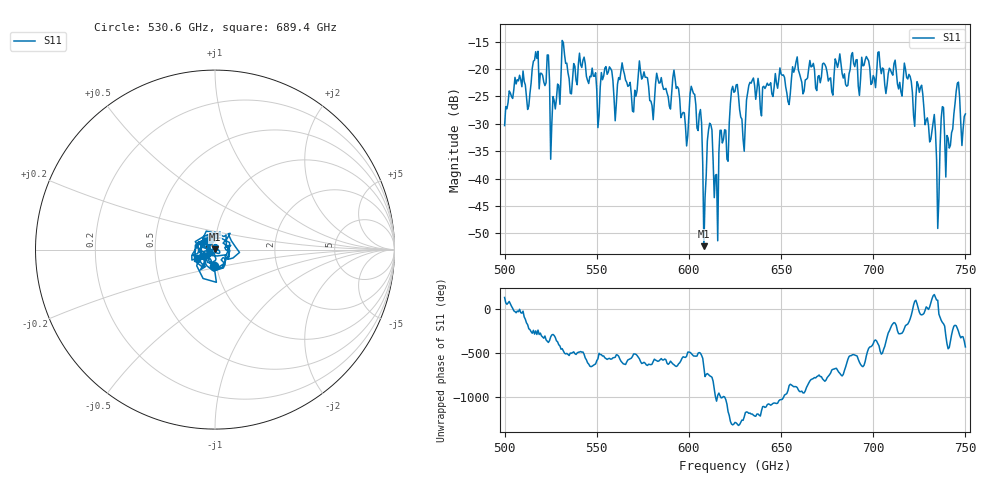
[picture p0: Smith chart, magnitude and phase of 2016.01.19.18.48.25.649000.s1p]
!Created with skrf (http://scikit-rf.org).
# GHz S RI R 50.0
!freq ReS11 ImS11
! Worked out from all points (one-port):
!   401 points, 500 GHz to 750 GHz, reference 50 ohm
!   lowest |S11| = -52.3 dB at 608.1 GHz (marker M1), VSWR 1.00, Z = 50.1 + j0.217 ohm
!   |S11| at or under -10 dB: start of sweep to end of sweep
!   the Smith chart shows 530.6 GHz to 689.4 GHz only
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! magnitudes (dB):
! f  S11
! 500 GHz  -30.3
! 506.9 GHz  -21.9
! 513.1 GHz  -26.8
! 516.9 GHz  -16.8
! 523.1 GHz  -17.4
! 526.2 GHz  -25.0
! 531.2 GHz  -14.8
! 550.6 GHz  -30.7
! 562.5 GHz  -21.9
! 593.8 GHz  -23.2
! 598.8 GHz  -34.0
! 602.5 GHz  -24.5
! 608.1 GHz  -52.3
! 611.2 GHz  -29.9
! 615 GHz  -39.3
! 617.5 GHz  -31.2
! 625 GHz  -24.1
! 629.4 GHz  -32.8
! 633.8 GHz  -22.6
! 656.2 GHz  -19.6
! 687.5 GHz  -20.1
! 718.8 GHz  -21.8
! 732.5 GHz  -29.8
! 735 GHz  -49.1
! 737.5 GHz  -26.9
! 740.6 GHz  -32.6
! 745.6 GHz  -22.6
! 750 GHz  -28.2
